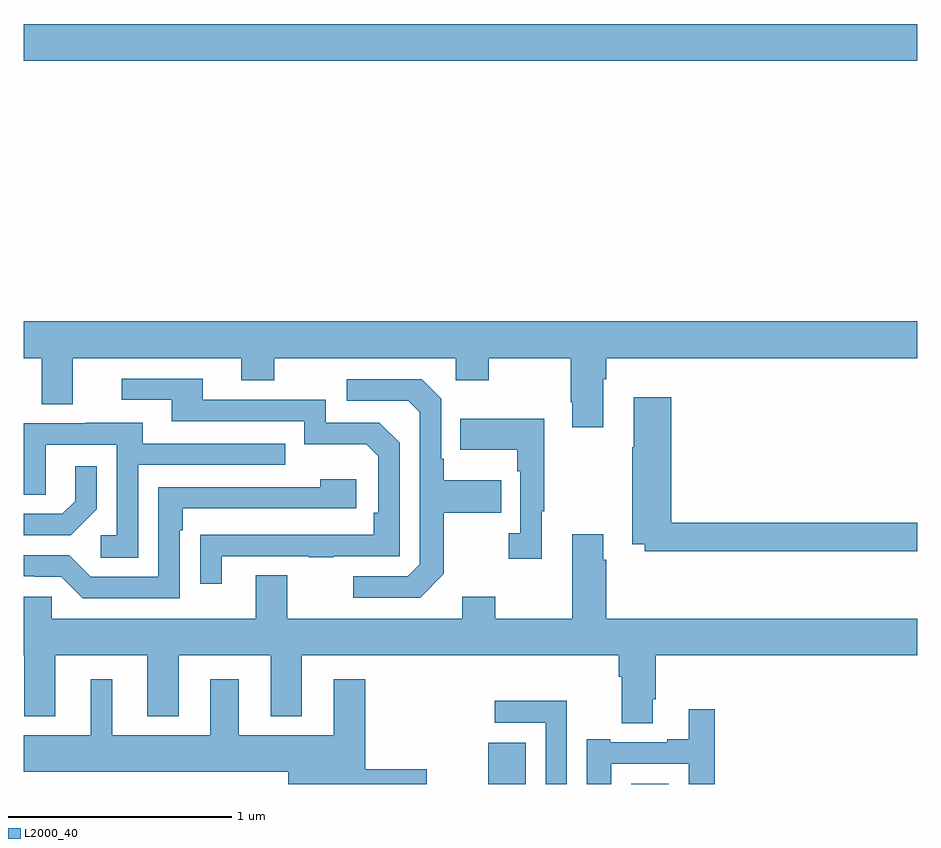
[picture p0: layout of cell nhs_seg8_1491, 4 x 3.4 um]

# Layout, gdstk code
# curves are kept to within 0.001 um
import gdstk
lib = gdstk.Library(unit=1e-6, precision=1e-09)
def R(c, l, rs):  # rectangles x0, y0, x1, y1
    for r in rs: c.add(gdstk.rectangle(r[:2], r[2:], *l))
def P(c, l, *ps):  # polygons
    for p in ps: c.add(gdstk.Polygon(p, *l))
L2000_40 = (2000, 40)

nhs_seg8_1491 = lib.new_cell('nhs_seg8_1491')
R(nhs_seg8_1491, L2000_40, [(207.08,1139.9,207.247,1140.085), (207.719,1139.9,207.889,1139.902), (205,1143.14,209,1143.304)])
P(nhs_seg8_1491, L2000_40, [(207.595,1141.712),(207.608,1141.712),(207.608,1141.808),(209,1141.808),(209,1141.972),(205,1141.972),(205,1141.808),(205.079,1141.808),(205.079,1141.6),(205.219,1141.6),(205.219,1141.808),(205.973,1141.808),(205.973,1141.709),(206.121,1141.709),(206.121,1141.808),(206.934,1141.808),(206.934,1141.709),(207.081,1141.709),(207.081,1141.808),(207.448,1141.808),(207.448,1141.609),(207.455,1141.609),(207.455,1141.497),(207.595,1141.497)],
  [(205.885,1140.921),(206.275,1140.921),(206.275,1140.916),(206.387,1140.916),(206.387,1140.921),(206.682,1140.921),(206.682,1141.428),(206.592,1141.518),(206.352,1141.518),(206.352,1141.62),(205.801,1141.62),(205.801,1141.716),(205.437,1141.716),(205.437,1141.62),(205.661,1141.62),(205.661,1141.524),(206.256,1141.524),(206.256,1141.421),(206.533,1141.421),(206.586,1141.368),(206.586,1141.114),(206.566,1141.114),(206.566,1141.017),(205.789,1141.016),(205.789,1140.798),(205.885,1140.798)],
  [(206.881,1140.841),(206.881,1141.114),(207.137,1141.114),(207.137,1141.261),(206.881,1141.261),(206.881,1141.357),(206.868,1141.357),(206.868,1141.626),(206.781,1141.713),(206.445,1141.713),(206.445,1141.617),(206.721,1141.617),(206.772,1141.566),(206.772,1140.885),(206.718,1140.831),(206.475,1140.831),(206.475,1140.735),(206.775,1140.735)],
  [(209,1141.07),(207.899,1141.07),(207.899,1141.633),(207.731,1141.633),(207.731,1141.409),(207.724,1141.409),(207.724,1140.974),(207.78,1140.974),(207.78,1140.942),(209,1140.942)],
  [(207.319,1141.121),(207.331,1141.121),(207.331,1141.537),(206.953,1141.537),(206.953,1141.397),(207.21,1141.397),(207.21,1141.301),(207.222,1141.301),(207.222,1141.022),(207.171,1141.022),(207.171,1140.909),(207.319,1140.909)],
  [(205.512,1141.329),(206.171,1141.329),(206.171,1141.425),(205.531,1141.425),(205.531,1141.519),(205.277,1141.519),(205.277,1141.515),(205,1141.515),(205,1141.195),(205.098,1141.195),(205.098,1141.419),(205.416,1141.419),(205.416,1141.014),(205.344,1141.014),(205.344,1140.913),(205.512,1140.913)],
  [(205.326,1141.13),(205.326,1141.324),(205.229,1141.324),(205.229,1141.167),(205.172,1141.11),(205,1141.11),(205,1141.014),(205.21,1141.014)],
  [(205.698,1141.037),(205.711,1141.037),(205.711,1141.134),(206.488,1141.134),(206.488,1141.264),(206.327,1141.264),(206.327,1141.23),(205.602,1141.23),(205.602,1140.828),(205.299,1140.828),(205.203,1140.924),(205,1140.924),(205,1140.831),(205.049,1140.831),(205.049,1140.828),(205.167,1140.828),(205.263,1140.732),(205.698,1140.732)],
  [(207.817,1140.28),(207.83,1140.28),(207.83,1140.476),(209,1140.476),(209,1140.64),(207.608,1140.64),(207.608,1140.905),(207.595,1140.905),(207.595,1141.018),(207.455,1141.018),(207.455,1140.64),(207.111,1140.64),(207.111,1140.739),(206.963,1140.739),(206.963,1140.64),(206.179,1140.64),(206.179,1140.835),(206.039,1140.835),(206.039,1140.64),(205.125,1140.64),(205.125,1140.738),(205,1140.738),(205,1140.476),(205.001,1140.476),(205.001,1140.203),(205.141,1140.203),(205.141,1140.476),(205.553,1140.476),(205.553,1140.203),(205.693,1140.203),(205.693,1140.476),(206.105,1140.476),(206.105,1140.203),(206.245,1140.203),(206.245,1140.476),(207.665,1140.476),(207.665,1140.38),(207.677,1140.38),(207.677,1140.172),(207.817,1140.172)],
  [(206.803,1139.966),(206.528,1139.966),(206.528,1140.37),(206.387,1140.37),(206.387,1140.118),(205.963,1140.118),(205.963,1140.37),(205.835,1140.37),(205.835,1140.118),(205.396,1140.118),(205.396,1140.37),(205.298,1140.37),(205.298,1140.118),(205,1140.118),(205,1139.954),(206.183,1139.954),(206.183,1139.9),(206.803,1139.9)],
  [(207.432,1140.272),(207.108,1140.272),(207.108,1140.174),(207.336,1140.174),(207.336,1139.9),(207.432,1139.9)],
  [(207.631,1139.991),(207.978,1139.991),(207.978,1139.9),(208.094,1139.9),(208.094,1140.235),(207.977,1140.235),(207.977,1140.1),(207.881,1140.1),(207.881,1140.087),(207.625,1140.087),(207.625,1140.1),(207.521,1140.1),(207.521,1139.9),(207.631,1139.9)])

lib.write_gds('nhs_seg8_1491.gds')
